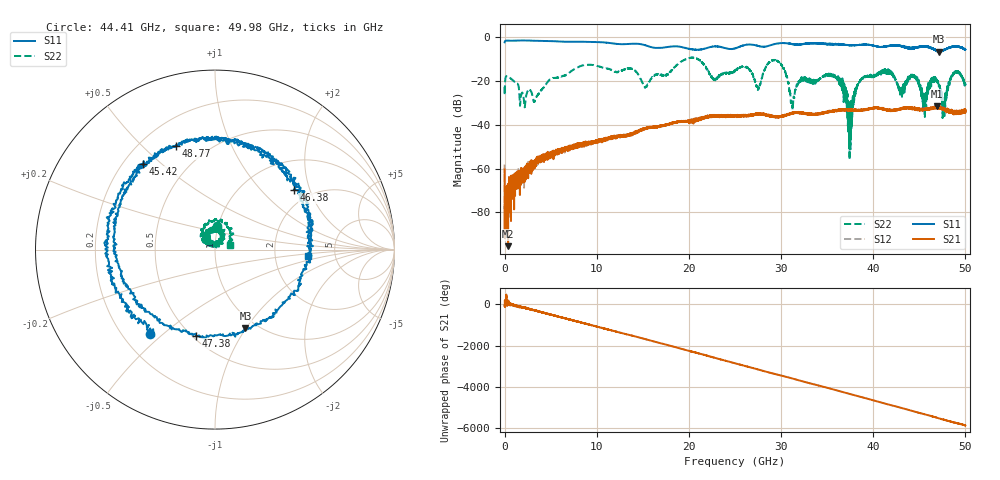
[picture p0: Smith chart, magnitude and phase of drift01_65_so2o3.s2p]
!Created with skrf (http://scikit-rf.org).
# Hz S RI R 50.0
!freq ReS11 ImS11 ReS21 ImS21 ReS12 ImS12 ReS22 ImS22
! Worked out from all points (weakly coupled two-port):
!   10001 points, 300 kHz to 50 GHz, reference 50 ohm
!   highest |S21| = -31.47 dB at 46.94 GHz (marker M1); lowest = -95.5 dB at 380.3 MHz (marker M2)
!   lowest |S11| = -6.6 dB at 47.15 GHz (marker M3), VSWR 2.77, Z = 44.2 - j49.7 ohm
!   |S11| at or under -10 dB: nowhere
!   |S22| runs from -56.0 to -9.2 dB; largest |S21 - S12| = 0.0038
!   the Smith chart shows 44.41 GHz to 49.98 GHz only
!   S11 on the Smith chart (normalised r, x): 44.41 GHz: 0.31, -0.45; 45.42 GHz: 0.28, +0.44; 46.38 GHz: 1.64, +1.56; 47.38 GHz: 0.52, -0.66; 48.77 GHz: 0.34, +0.63; 49.98 GHz: 3.12, -0.32
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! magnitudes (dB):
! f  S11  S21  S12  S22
! 300 kHz  -2.2  -60.3  -58.2  -22.6
! 380.3 MHz  -1.4  -95.5  -72.0  -18.0
! 3.285 GHz  -1.5  -58.1  -57.8  -28.8
! 8.335 GHz  -1.9  -50.0  -50.1  -12.9
! 16.67 GHz  -4.8  -40.6  -40.5  -16.7
! 25 GHz  -5.0  -35.7  -36.1  -15.3
! 29.57 GHz  -2.8  -36.4  -36.3  -10.7
! 31.23 GHz  -3.0  -34.5  -34.8  -32.1
! 33.34 GHz  -2.6  -35.1  -35.1  -19.9
! 36.15 GHz  -3.1  -33.4  -33.2  -18.6
! 37.47 GHz  -3.6  -33.5  -33.3  -30.3
! 38.65 GHz  -3.3  -33.2  -33.4  -19.5
! 41.67 GHz  -3.8  -33.3  -33.3  -15.8
! 44.41 GHz  -4.5  -32.5  -32.8  -17.6
! 45.42 GHz  -4.1  -32.5  -32.8  -29.2
! 46.38 GHz  -5.2  -32.1  -32.4  -19.8
! 46.94 GHz  -6.4  -31.5  -31.9  -20.4
! 47.15 GHz  -6.6  -32.3  -32.0  -21.9
! 47.38 GHz  -6.2  -32.1  -32.6  -25.8
! 48.77 GHz  -4.2  -34.2  -34.6  -16.6
! 49.98 GHz  -5.7  -34.4  -33.4  -21.2
! 50 GHz  -5.5  -33.8  -33.4  -21.2
